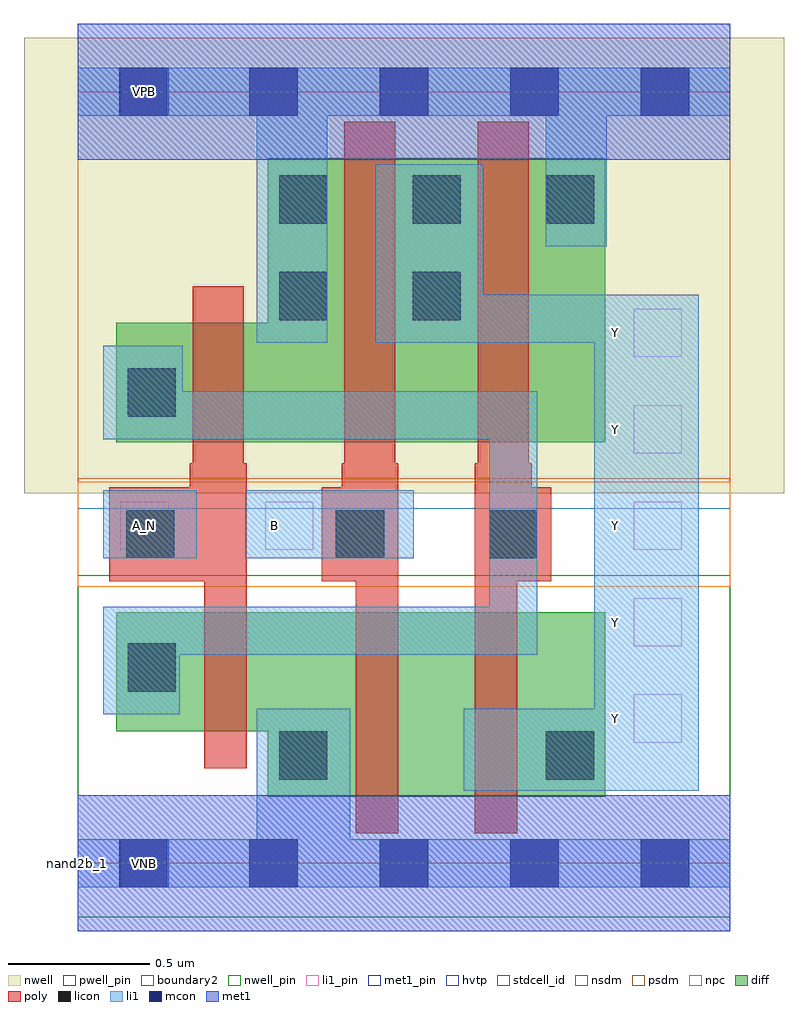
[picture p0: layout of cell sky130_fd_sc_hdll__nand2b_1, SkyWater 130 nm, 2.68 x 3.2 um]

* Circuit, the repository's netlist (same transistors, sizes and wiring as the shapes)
* Copyright 2020 The SkyWater PDK Authors
*
* Licensed under the Apache License, Version 2.0 (the "License");
* you may not use this file except in compliance with the License.
* You may obtain a copy of the License at
*
*     https://www.apache.org/licenses/LICENSE-2.0
*
* Unless required by applicable law or agreed to in writing, software
* distributed under the License is distributed on an "AS IS" BASIS,
* WITHOUT WARRANTIES OR CONDITIONS OF ANY KIND, either express or implied.
* See the License for the specific language governing permissions and
* limitations under the License.
*
* SPDX-License-Identifier: Apache-2.0

.SUBCKT sky130_fd_sc_hdll__nand2b_1 A_N B VGND VNB VPB VPWR Y
*.PININFO A_N:I B:I VGND:I VNB:I VPB:I VPWR:I Y:O
MMP0 Y A VPWR VPB sky130_fd_pr__pfet_01v8_hvt m=1 w=1.0U l=0.18U mult=1 sa=0.265
+ sb=0.265 sd=0.28 area=0.063 perim=1.14
MMP1 Y B VPWR VPB sky130_fd_pr__pfet_01v8_hvt m=1 w=1.0U l=0.18U mult=1 sa=0.265
+ sb=0.265 sd=0.28 area=0.063 perim=1.14
MMIP0 A A_N VPWR VPB sky130_fd_pr__pfet_01v8_hvt m=1 w=0.42U l=0.18U mult=1 sa=0.265
+ sb=0.265 sd=0.28 area=0.063 perim=1.14
MMN0 Y A sndA VNB sky130_fd_pr__nfet_01v8 m=1 w=0.65U l=0.15U mult=1 sa=0.265 sb=0.265
+ sd=0.28 area=0.063 perim=1.14
MMN1 sndA B VGND VNB sky130_fd_pr__nfet_01v8 m=1 w=0.65U l=0.15U mult=1 sa=0.265
+ sb=0.265 sd=0.28 area=0.063 perim=1.14
MMIN0 A A_N VGND VNB sky130_fd_pr__nfet_01v8 m=1 w=0.42U l=0.15U mult=1 sa=0.265
+ sb=0.265 sd=0.28 area=0.063 perim=1.14
.ENDS sky130_fd_sc_hdll__nand2b_1

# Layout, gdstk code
import gdstk
lib = gdstk.Library(unit=1e-6, precision=1e-09)
def R(c, l, rs):  # rectangles x0, y0, x1, y1
    for r in rs: c.add(gdstk.rectangle(r[:2], r[2:], *l))
def A(c, l, x, y, w, h, nx, ny, dx, dy):  # array of equal rectangles
    R(c, l, [(x+i*dx, y+j*dy, x+i*dx+w, y+j*dy+h) for i in range(nx) for j in range(ny)])
def P(c, l, *ps):  # polygons
    for p in ps: c.add(gdstk.Polygon(p, *l))
nwell_pin = (64, 16)
nwell = (64, 20)
diff = (65, 20)
poly = (66, 20)
licon = (66, 44)
li1_pin = (67, 16)
li1 = (67, 20)
mcon = (67, 44)
met1_pin = (68, 16)
met1 = (68, 20)
hvtp = (78, 44)
stdcell_id = (81, 4)
nsdm = (93, 44)
psdm = (94, 20)
npc = (95, 20)
pwell_pin = (122, 16)
boundary2 = (236, 0)

sky130_fd_sc_hdll__nand2 = lib.new_cell('sky130_fd_sc_hdll__nand2b_1')
R(sky130_fd_sc_hdll__nand2, nwell_pin, [(0.15,2.635,0.32,2.805)])
R(sky130_fd_sc_hdll__nand2, nwell, [(-0.19,1.305,2.49,2.91)])
P(sky130_fd_sc_hdll__nand2, diff, [(1.86,2.485),(0.67,2.485),(0.67,1.905),(0.135,1.905),(0.135,1.485),(1.86,1.485)],
  [(1.86,0.885),(0.135,0.885),(0.135,0.465),(0.67,0.465),(0.67,0.235),(1.86,0.235)])
P(sky130_fd_sc_hdll__nand2, poly, [(0.595,1.41),(0.585,1.41),(0.585,2.035),(0.405,2.035),(0.405,1.41),(0.395,1.41),(0.395,1.325),(0.11,1.325),(0.11,0.995),(0.445,0.995),(0.445,0.335),(0.595,0.335)],
  [(1.13,1.41),(1.12,1.41),(1.12,2.615),(0.94,2.615),(0.94,1.41),(0.93,1.41),(0.93,1.325),(0.86,1.325),(0.86,0.995),(0.98,0.995),(0.98,0.105),(1.13,0.105)],
  [(1.67,1.325),(1.6,1.325),(1.6,1.41),(1.59,1.41),(1.59,2.615),(1.41,2.615),(1.41,1.41),(1.4,1.41),(1.4,0.105),(1.55,0.105),(1.55,0.995),(1.67,0.995)])
A(sky130_fd_sc_hdll__nand2, licon, 0.71, 2.255, 0.17, 0.17, 3, 1, 0.47, 0)
R(sky130_fd_sc_hdll__nand2, licon, [(0.71,0.295,0.88,0.465), (1.65,0.295,1.82,0.465), (0.175,0.605,0.345,0.775), (0.17,1.075,0.34,1.245), (0.91,1.075,1.08,1.245), (1.45,1.075,1.62,1.245), (0.175,1.575,0.345,1.745), (0.71,1.915,0.88,2.085), (1.18,1.915,1.35,2.085)])
A(sky130_fd_sc_hdll__nand2, li1_pin, 1.96, 0.425, 0.17, 0.17, 1, 5, 0, 0.34)
R(sky130_fd_sc_hdll__nand2, li1_pin, [(0.15,1.105,0.32,1.275), (0.66,1.105,0.83,1.275)])
R(sky130_fd_sc_hdll__nand2, li1, [(0.09,1.075,0.42,1.315), (0.59,1.075,1.185,1.315)])
P(sky130_fd_sc_hdll__nand2, li1, [(2.3,0.085),(0.96,0.085),(0.96,0.545),(0.63,0.545),(0.63,0.085),(0,0.085),(0,-0.085),(2.3,-0.085)],
  [(2.3,2.805),(0,2.805),(0,2.635),(0.63,2.635),(0.63,1.835),(0.88,1.835),(0.88,2.635),(1.65,2.635),(1.65,2.175),(1.865,2.175),(1.865,2.635),(2.3,2.635)],
  [(2.19,2.005),(1.43,2.005),(1.43,2.465),(1.05,2.465),(1.05,1.835),(1.82,1.835),(1.82,0.545),(1.36,0.545),(1.36,0.255),(2.19,0.255)],
  [(1.62,1.665),(0.37,1.665),(0.37,1.825),(0.09,1.825),(0.09,1.495),(1.45,1.495),(1.45,0.905),(0.09,0.905),(0.09,0.525),(0.36,0.525),(0.36,0.735),(1.62,0.735)])
A(sky130_fd_sc_hdll__nand2, mcon, 0.145, -0.085, 0.17, 0.17, 5, 2, 0.46, 2.72)
R(sky130_fd_sc_hdll__nand2, met1_pin, [(0.15,-0.085,0.32,0.085), (0.15,2.635,0.32,2.805)])
R(sky130_fd_sc_hdll__nand2, met1, [(0,-0.24,2.3,0.24), (0,2.48,2.3,2.96)])
R(sky130_fd_sc_hdll__nand2, hvtp, [(0,1.25,2.3,2.72)])
R(sky130_fd_sc_hdll__nand2, stdcell_id, [(0,0,2.3,2.72)])
R(sky130_fd_sc_hdll__nand2, nsdm, [(0,-0.19,2.3,1.015)])
R(sky130_fd_sc_hdll__nand2, psdm, [(0,1.355,2.3,2.91)])
R(sky130_fd_sc_hdll__nand2, npc, [(0,0.975,2.3,1.345)])
R(sky130_fd_sc_hdll__nand2, pwell_pin, [(0.15,-0.085,0.32,0.085)])
R(sky130_fd_sc_hdll__nand2, boundary2, [(0,0,2.3,2.72)])
sky130_fd_sc_hdll__nand2.add(gdstk.Label('Y', (1.895,1.87), layer=67, texttype=5))
sky130_fd_sc_hdll__nand2.add(gdstk.Label('Y', (1.895,1.53), layer=67, texttype=5))
sky130_fd_sc_hdll__nand2.add(gdstk.Label('Y', (1.895,0.51), layer=67, texttype=5))
sky130_fd_sc_hdll__nand2.add(gdstk.Label('Y', (1.895,1.19), layer=67, texttype=5))
sky130_fd_sc_hdll__nand2.add(gdstk.Label('Y', (1.895,0.85), layer=67, texttype=5))
sky130_fd_sc_hdll__nand2.add(gdstk.Label('A_N', (0.235,1.19), layer=67, texttype=5))
sky130_fd_sc_hdll__nand2.add(gdstk.Label('B', (0.695,1.19), layer=67, texttype=5))
sky130_fd_sc_hdll__nand2.add(gdstk.Label('VPB', (0.235,2.72), layer=64, texttype=5))
sky130_fd_sc_hdll__nand2.add(gdstk.Label('VNB', (0.235,0), layer=64, texttype=59))
sky130_fd_sc_hdll__nand2.add(gdstk.Label('VGND', (0.23,0), layer=68, texttype=5))
sky130_fd_sc_hdll__nand2.add(gdstk.Label('VPWR', (0.23,2.72), layer=68, texttype=5))
sky130_fd_sc_hdll__nand2.add(gdstk.Label('nand2b_1', (0,0), layer=83, texttype=44))

lib.write_gds('sky130_fd_sc_hdll__nand2b_1.gds')
